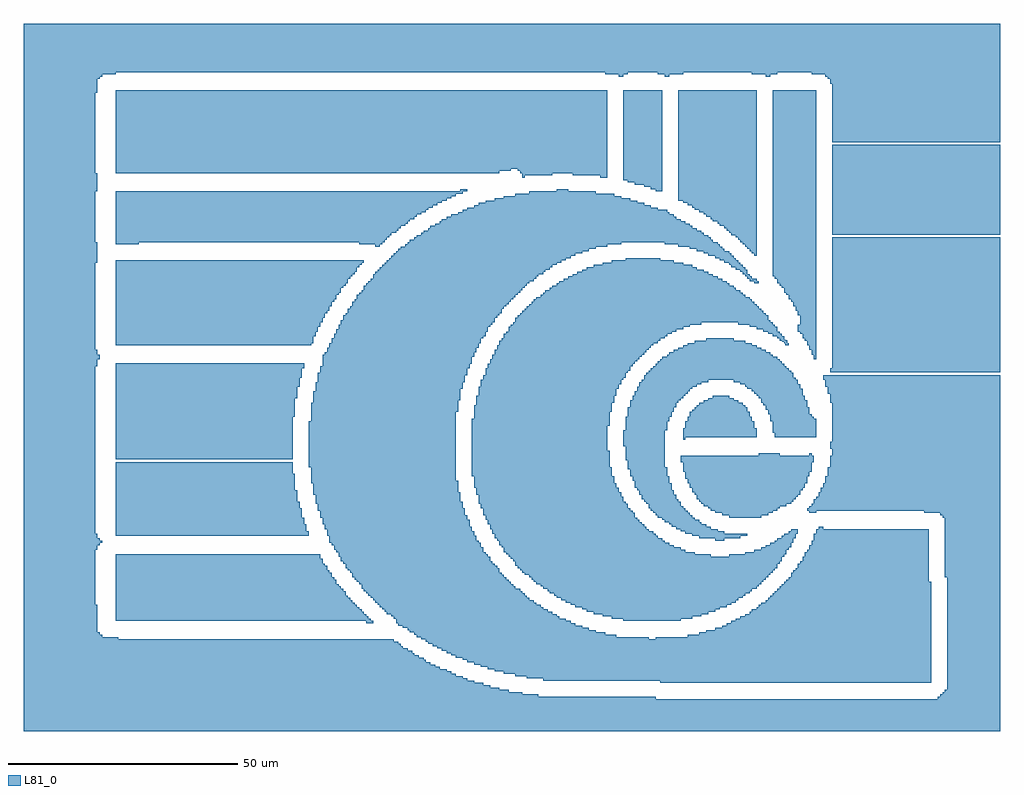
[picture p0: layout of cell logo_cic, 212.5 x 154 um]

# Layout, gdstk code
import gdstk
lib = gdstk.Library(unit=1e-6, precision=5e-09)
def R(c, l, rs):  # rectangles x0, y0, x1, y1
    for r in rs: c.add(gdstk.rectangle(r[:2], r[2:], *l))
def A(c, l, x, y, w, h, nx, ny, dx, dy):  # array of equal rectangles
    R(c, l, [(x+i*dx, y+j*dy, x+i*dx+w, y+j*dy+h) for i in range(nx) for j in range(ny)])
def P(c, l, *ps):  # polygons
    for p in ps: c.add(gdstk.Polygon(p, *l))
L81_0 = (81, 0)

logo_cic = lib.new_cell('logo_cic')
A(logo_cic, L81_0, 20, 121.5, 20, 18, 4, 1, 20, 0)
A(logo_cic, L81_0, 20, 143.5, 20, 10.5, 5, 1, 20, 0)
R(logo_cic, L81_0, [(40,0,60,20), (60,0,80,20), (140,0,160,7), (160,0,180,7), (20,24,40,38.5), (40,24,60,38.5), (20,42.565,40,58.565), (20,59.17,40,80.1), (180,78.105,200,107.495), (200,78.105,212.5,107.495), (20,84,40,102.5), (40,84,60,102.5), (165.78,84.06,166.22,84.5), (165.78,84.28,166.22,84.72), (165.78,84.72,166.22,85.16), (165.06,84.78,165.5,85.22), (165.34,84.78,165.78,85.22), (158,98,158.5,98.5), (157.5,98.5,158,99), (157,99,157.5,99.5), (40,106.5,60,117.5), (176,108.1,180,127.655), (180,108.1,200,127.655), (200,108.1,212.5,127.655), (180,128.26,200,154), (200,128.26,212.5,154)])
P(logo_cic, L81_0, [(175.5,78.105),(175.5,79),(176,79),(176,107.495),(180,107.495),(180,78.105)],
  [(40,59.17),(40,80.1),(60,80.1),(60,75),(59.5,75),(59.5,72.5),(59,72.5),(59,68.5),(58.5,68.5),(58.5,59.17)],
  [(176,128.26),(176,141),(175.5,141),(175.5,142),(175,142),(175,142.5),(174.5,142.5),(174.5,143),(171.5,143),(171.5,143.5),(164,143.5),(164,143),(162.5,143),(162.5,142.5),(161.5,142.5),(161.5,143),(160,143),(160,154),(180,154),(180,128.26)],
  [(40,42.565),(40,58.565),(58.5,58.565),(58.5,56),(59,56),(59,52.5),(59.5,52.5),(59.5,50),(60,50),(60,42.565)],
  [(60,77),(60,80.1),(61,80.1),(61,79),(60.5,79),(60.5,77)],
  [(20,106),(20,117.5),(40,117.5),(40,106.5),(25,106.5),(25,106)],
  [(60,42.565),(60,48.5),(60.5,48.5),(60.5,46.5),(61,46.5),(61,45),(61.5,45),(61.5,43.5),(62,43.5),(62,42.565)],
  [(199.5,47),(199.5,47.5),(196,47.5),(196,48),(180,48),(180,77.5),(200,77.5),(200,47)],
  [(200,0),(200,8.5),(200.5,8.5),(200.5,9),(201,9),(201,33.5),(200.5,33.5),(200.5,46.5),(200,46.5),(200,77.5),(212.5,77.5),(212.5,0)],
  [(171,47.5),(171,48),(170.5,48),(170.5,48.5),(171,48.5),(171,49),(171.5,49),(171.5,49.5),(172,49.5),(172,50.5),(172.5,50.5),(172.5,51),(173,51),(173,52),(173.5,52),(173.5,53),(174,53),(174,54),(174.5,54),(174.5,55.5),(175,55.5),(175,57.5),(175.5,57.5),(175.5,60),(176,60),(176,61.5),(175.5,61.5),(175.5,63),(176,63),(176,71.5),(175.5,71.5),(175.5,73.5),(175,73.5),(175,75),(174.5,75),(174.5,76.5),(174,76.5),(174,77.5),(180,77.5),(180,48),(172.5,48),(172.5,47.5)],
  [(0,0),(0,154),(20,154),(20,143),(17,143),(17,142.5),(16.5,142.5),(16.5,142),(16,142),(16,139),(15.5,139),(15.5,121.5),(16,121.5),(16,117.5),(15.5,117.5),(15.5,106.5),(16,106.5),(16,102),(15.5,102),(15.5,83),(16,83),(16,82),(16.5,82),(16.5,81),(16,81),(16,79.5),(15.5,79.5),(15.5,43),(16,43),(16,42),(16.5,42),(16.5,41.5),(17,41.5),(17,41),(16.5,41),(16.5,40.5),(16,40.5),(16,39.5),(15.5,39.5),(15.5,27.5),(16,27.5),(16,21.5),(16.5,21.5),(16.5,21),(17,21),(17,20.5),(20,20.5),(20,0)],
  [(20,0),(20,20.5),(20.5,20.5),(20.5,20),(40,20),(40,0)],
  [(74.5,23.5),(74.5,24),(60,24),(60,38.5),(64.5,38.5),(64.5,37.5),(65,37.5),(65,36.5),(65.5,36.5),(65.5,36),(66,36),(66,35),(66.5,35),(66.5,34.5),(67,34.5),(67,33.5),(67.5,33.5),(67.5,33),(68,33),(68,32),(68.5,32),(68.5,31.5),(69,31.5),(69,31),(69.5,31),(69.5,30.5),(70,30.5),(70,29.5),(70.5,29.5),(70.5,29),(71,29),(71,28.5),(71.5,28.5),(71.5,28),(72,28),(72,27.5),(72.5,27.5),(72.5,27),(73,27),(73,26.5),(73.5,26.5),(73.5,26),(74,26),(74,25.5),(74.5,25.5),(74.5,25),(75,25),(75,24.5),(75.5,24.5),(75.5,24),(76,24),(76,23.5)],
  [(60,84),(60,102.5),(74,102.5),(74,102),(73.5,102),(73.5,101.5),(73,101.5),(73,101),(72.5,101),(72.5,100),(72,100),(72,99.5),(71.5,99.5),(71.5,99),(71,99),(71,98.5),(70.5,98.5),(70.5,97.5),(70,97.5),(70,97),(69.5,97),(69.5,96.5),(69,96.5),(69,95.5),(68.5,95.5),(68.5,95),(68,95),(68,94),(67.5,94),(67.5,93.5),(67,93.5),(67,92.5),(66.5,92.5),(66.5,91.5),(66,91.5),(66,91),(65.5,91),(65.5,90),(65,90),(65,89),(64.5,89),(64.5,88),(64,88),(64,87),(63.5,87),(63.5,86),(63,86),(63,84.5),(62.5,84.5),(62.5,84)],
  [(79,25.5),(79,26),(78.5,26),(78.5,26.5),(78,26.5),(78,27),(77.5,27),(77.5,27.5),(77,27.5),(77,28),(76.5,28),(76.5,28.5),(76,28.5),(76,29),(75.5,29),(75.5,29.5),(75,29.5),(75,30),(74.5,30),(74.5,30.5),(74,30.5),(74,31),(73.5,31),(73.5,32),(73,32),(73,32.5),(72.5,32.5),(72.5,33),(72,33),(72,33.5),(71.5,33.5),(71.5,34.5),(71,34.5),(71,35),(70.5,35),(70.5,35.5),(70,35.5),(70,36.5),(69.5,36.5),(69.5,37),(69,37),(69,38),(68.5,38),(68.5,39),(68,39),(68,39.5),(67.5,39.5),(67.5,40.5),(67,40.5),(67,41),(66.5,41),(66.5,42.5),(66,42.5),(66,44),(65.5,44),(65.5,45),(65,45),(65,46.5),(64.5,46.5),(64.5,48),(64,48),(64,49.5),(63.5,49.5),(63.5,51.5),(63,51.5),(63,54),(62.5,54),(62.5,57.5),(62,57.5),(62,67.5),(62.5,67.5),(62.5,71.5),(63,71.5),(63,74),(63.5,74),(63.5,76),(64,76),(64,78),(64.5,78),(64.5,79.5),(65,79.5),(65,82),(65.5,82),(65.5,82.5),(66,82.5),(66,83.5),(66.5,83.5),(66.5,84.5),(67,84.5),(67,85.5),(67.5,85.5),(67.5,86.5),(68,86.5),(68,87.5),(68.5,87.5),(68.5,88.5),(69,88.5),(69,89.5),(69.5,89.5),(69.5,90.5),(70,90.5),(70,91),(70.5,91),(70.5,92),(71,92),(71,92.5),(71.5,92.5),(71.5,93.5),(72,93.5),(72,94),(72.5,94),(72.5,95),(73,95),(73,95.5),(73.5,95.5),(73.5,96),(74,96),(74,97),(74.5,97),(74.5,97.5),(75,97.5),(75,98),(75.5,98),(75.5,98.5),(76,98.5),(76,99.5),(76.5,99.5),(76.5,100),(77,100),(77,100.5),(77.5,100.5),(77.5,101),(78,101),(78,101.5),(78.5,101.5),(78.5,102),(79,102),(79,102.5),(79.5,102.5),(79.5,103),(80,103),(80,25.5)],
  [(76.5,105.5),(76.5,106),(73,106),(73,106.5),(60,106.5),(60,117.5),(80,117.5),(80,108),(79.5,108),(79.5,107.5),(79,107.5),(79,107),(78.5,107),(78.5,106.5),(78,106.5),(78,106),(77.5,106),(77.5,105.5)],
  [(80,0),(80,20),(80.5,20),(80.5,19.5),(81.5,19.5),(81.5,19),(82,19),(82,18.5),(82.5,18.5),(82.5,18),(83.5,18),(83.5,17.5),(84.5,17.5),(84.5,17),(85,17),(85,16.5),(86,16.5),(86,16),(87,16),(87,15.5),(87.5,15.5),(87.5,15),(88.5,15),(88.5,14.5),(89.5,14.5),(89.5,14),(90.5,14),(90.5,13.5),(92,13.5),(92,13),(93,13),(93,12.5),(94,12.5),(94,12),(95.5,12),(95.5,11.5),(96.5,11.5),(96.5,11),(98,11),(98,10.5),(100,10.5),(100,0)],
  [(99.5,48.5),(99.5,49.5),(99,49.5),(99,51.5),(98.5,51.5),(98.5,53),(98,53),(98,55.5),(97.5,55.5),(97.5,68),(98,68),(98,71),(98.5,71),(98.5,73),(99,73),(99,75),(99.5,75),(99.5,76.5),(100,76.5),(100,48.5)],
  [(99.5,14),(99.5,14.5),(98,14.5),(98,15),(96.5,15),(96.5,15.5),(95.5,15.5),(95.5,16),(94,16),(94,16.5),(93,16.5),(93,17),(92,17),(92,17.5),(91,17.5),(91,18),(90,18),(90,18.5),(89,18.5),(89,19),(88,19),(88,19.5),(87.5,19.5),(87.5,20),(86.5,20),(86.5,20.5),(85.5,20.5),(85.5,21),(85,21),(85,21.5),(84,21.5),(84,22),(83.5,22),(83.5,22.5),(82.5,22.5),(82.5,23),(81.5,23),(81.5,23.5),(81,23.5),(81,24.5),(80.5,24.5),(80.5,25),(80,25),(80,103.5),(80.5,103.5),(80.5,104),(81,104),(81,104.5),(81.5,104.5),(81.5,105),(82,105),(82,105.5),(83,105.5),(83,106),(83.5,106),(83.5,106.5),(84,106.5),(84,107),(85,107),(85,107.5),(85.5,107.5),(85.5,108),(86.5,108),(86.5,108.5),(87,108.5),(87,109),(88,109),(88,109.5),(88.5,109.5),(88.5,110),(89.5,110),(89.5,110.5),(90.5,110.5),(90.5,111),(91,111),(91,111.5),(92,111.5),(92,112),(93,112),(93,112.5),(94.5,112.5),(94.5,113),(95.5,113),(95.5,113.5),(96.5,113.5),(96.5,114),(98,114),(98,114.5),(99,114.5),(99,115),(100,115),(100,85.5),(99.5,85.5),(99.5,84.5),(99,84.5),(99,83.5),(98.5,83.5),(98.5,82.5),(98,82.5),(98,81.5),(97.5,81.5),(97.5,80),(97,80),(97,79),(96.5,79),(96.5,77.5),(96,77.5),(96,76),(95.5,76),(95.5,74.5),(95,74.5),(95,72),(94.5,72),(94.5,69.5),(94,69.5),(94,54.5),(94.5,54.5),(94.5,52),(95,52),(95,50),(95.5,50),(95.5,48.5),(96,48.5),(96,47),(96.5,47),(96.5,46),(97,46),(97,44.5),(97.5,44.5),(97.5,43.5),(98,43.5),(98,42.5),(98.5,42.5),(98.5,41.5),(99,41.5),(99,41),(99.5,41),(99.5,40),(100,40),(100,14)],
  [(80,108.5),(80,117.5),(95,117.5),(95,118),(96.5,118),(96.5,117.5),(95.5,117.5),(95.5,117),(94,117),(94,116.5),(93,116.5),(93,116),(92,116),(92,115.5),(91,115.5),(91,115),(90,115),(90,114.5),(89,114.5),(89,114),(88,114),(88,113.5),(87.5,113.5),(87.5,113),(86.5,113),(86.5,112.5),(85.5,112.5),(85.5,112),(85,112),(85,111.5),(84,111.5),(84,111),(83.5,111),(83.5,110.5),(83,110.5),(83,110),(82,110),(82,109.5),(81.5,109.5),(81.5,109),(81,109),(81,108.5)],
  [(100,0),(100,10),(101.5,10),(101.5,9.5),(103.5,9.5),(103.5,9),(105.5,9),(105.5,8.5),(108.5,8.5),(108.5,8),(112,8),(112,7.5),(120,7.5),(120,0)],
  [(113,11),(113,11.5),(109.5,11.5),(109.5,12),(107,12),(107,12.5),(104.5,12.5),(104.5,13),(102.5,13),(102.5,13.5),(101,13.5),(101,14),(100,14),(100,39),(100.5,39),(100.5,38.5),(101,38.5),(101,38),(101.5,38),(101.5,37),(102,37),(102,36.5),(102.5,36.5),(102.5,36),(103,36),(103,35.5),(103.5,35.5),(103.5,34.5),(104,34.5),(104,34),(104.5,34),(104.5,33.5),(105,33.5),(105,33),(105.5,33),(105.5,32.5),(106,32.5),(106,32),(106.5,32),(106.5,31.5),(107,31.5),(107,31),(108,31),(108,30.5),(108.5,30.5),(108.5,30),(109,30),(109,29.5),(109.5,29.5),(109.5,29),(110,29),(110,28.5),(111,28.5),(111,28),(111.5,28),(111.5,27.5),(112.5,27.5),(112.5,27),(113,27),(113,26.5),(114,26.5),(114,26),(115,26),(115,25.5),(116,25.5),(116,25),(116.5,25),(116.5,24.5),(118,24.5),(118,24),(119,24),(119,23.5),(120,23.5),(120,11)],
  [(119,27.5),(119,28),(118,28),(118,28.5),(117,28.5),(117,29),(116,29),(116,29.5),(115.5,29.5),(115.5,30),(114.5,30),(114.5,30.5),(114,30.5),(114,31),(113,31),(113,31.5),(112.5,31.5),(112.5,32),(111.5,32),(111.5,32.5),(111,32.5),(111,33),(110.5,33),(110.5,33.5),(110,33.5),(110,34),(109,34),(109,34.5),(108.5,34.5),(108.5,35),(108,35),(108,35.5),(107.5,35.5),(107.5,36),(107,36),(107,37),(106.5,37),(106.5,37.5),(106,37.5),(106,38),(105.5,38),(105.5,38.5),(105,38.5),(105,39),(104.5,39),(104.5,40),(104,40),(104,40.5),(103.5,40.5),(103.5,41.5),(103,41.5),(103,42),(102.5,42),(102.5,43),(102,43),(102,44),(101.5,44),(101.5,45),(101,45),(101,46),(100.5,46),(100.5,47),(100,47),(100,77.5),(100.5,77.5),(100.5,79),(101,79),(101,80),(101.5,80),(101.5,81),(102,81),(102,82),(102.5,82),(102.5,83),(103,83),(103,84),(103.5,84),(103.5,85),(104,85),(104,85.5),(104.5,85.5),(104.5,86.5),(105,86.5),(105,87),(105.5,87),(105.5,88),(106,88),(106,88.5),(106.5,88.5),(106.5,89),(107,89),(107,90),(107.5,90),(107.5,90.5),(108,90.5),(108,91),(108.5,91),(108.5,91.5),(109,91.5),(109,92),(109.5,92),(109.5,92.5),(110,92.5),(110,93),(110.5,93),(110.5,93.5),(111,93.5),(111,94),(111.5,94),(111.5,94.5),(112.5,94.5),(112.5,95),(113,95),(113,95.5),(113.5,95.5),(113.5,96),(114.5,96),(114.5,96.5),(115,96.5),(115,97),(116,97),(116,97.5),(116.5,97.5),(116.5,98),(117.5,98),(117.5,98.5),(118.5,98.5),(118.5,99),(119.5,99),(119.5,99.5),(120,99.5),(120,27.5)],
  [(100,86),(100,115),(100.5,115),(100.5,115.5),(102.5,115.5),(102.5,116),(104.5,116),(104.5,116.5),(107,116.5),(107,117),(110,117),(110,117.5),(116,117.5),(116,118),(118.5,118),(118.5,117.5),(120,117.5),(120,103.5),(119,103.5),(119,103),(118,103),(118,102.5),(117,102.5),(117,102),(116,102),(116,101.5),(115,101.5),(115,101),(114.5,101),(114.5,100.5),(113.5,100.5),(113.5,100),(113,100),(113,99.5),(112,99.5),(112,99),(111.5,99),(111.5,98.5),(111,98.5),(111,98),(110,98),(110,97.5),(109.5,97.5),(109.5,97),(109,97),(109,96.5),(108.5,96.5),(108.5,96),(108,96),(108,95.5),(107.5,95.5),(107.5,95),(107,95),(107,94.5),(106.5,94.5),(106.5,94),(106,94),(106,93.5),(105.5,93.5),(105.5,93),(105,93),(105,92.5),(104.5,92.5),(104.5,92),(104,92),(104,91),(103.5,91),(103.5,90.5),(103,90.5),(103,90),(102.5,90),(102.5,89),(102,89),(102,88.5),(101.5,88.5),(101.5,88),(101,88),(101,87),(100.5,87),(100.5,86)],
  [(108.5,120.5),(108.5,121.5),(108,121.5),(108,122),(107.5,122),(107.5,122.5),(106,122.5),(106,122),(103.5,122),(103.5,121.5),(100,121.5),(100,139.5),(120,139.5),(120,121),(119.5,121),(119.5,121.5),(115,121.5),(115,121),(109,121),(109,120.5)],
  [(120,0),(120,7.5),(137.5,7.5),(137.5,7),(140,7),(140,0)],
  [(138.5,10.5),(138.5,11),(120,11),(120,23),(121.5,23),(121.5,22.5),(123,22.5),(123,22),(124.5,22),(124.5,21.5),(126.5,21.5),(126.5,21),(129,21),(129,20.5),(136,20.5),(136,20),(137.5,20),(137.5,20.5),(140,20.5),(140,10.5)],
  [(139.5,45.5),(139.5,46),(139,46),(139,46.5),(138,46.5),(138,47),(137.5,47),(137.5,47.5),(137,47.5),(137,48),(136.5,48),(136.5,48.5),(136,48.5),(136,49.5),(135.5,49.5),(135.5,50),(135,50),(135,50.5),(134.5,50.5),(134.5,51.5),(134,51.5),(134,52.5),(133.5,52.5),(133.5,53),(133,53),(133,54.5),(132.5,54.5),(132.5,55.5),(132,55.5),(132,57),(131.5,57),(131.5,59),(131,59),(131,62),(130.5,62),(130.5,65.5),(131,65.5),(131,68.5),(131.5,68.5),(131.5,70.5),(132,70.5),(132,72),(132.5,72),(132.5,73),(133,73),(133,74),(133.5,74),(133.5,75),(134,75),(134,76),(134.5,76),(134.5,76.5),(135,76.5),(135,77.5),(135.5,77.5),(135.5,78),(136,78),(136,78.5),(136.5,78.5),(136.5,79),(137,79),(137,79.5),(137.5,79.5),(137.5,80),(138,80),(138,80.5),(138.5,80.5),(138.5,81),(139,81),(139,81.5),(140,81.5),(140,65.5),(139.5,65.5),(139.5,57.5),(140,57.5),(140,45.5)],
  [(130.5,24),(130.5,24.5),(128,24.5),(128,25),(126,25),(126,25.5),(124,25.5),(124,26),(122.5,26),(122.5,26.5),(121.5,26.5),(121.5,27),(120,27),(120,99.5),(120.5,99.5),(120.5,100),(121.5,100),(121.5,100.5),(122.5,100.5),(122.5,101),(124,101),(124,101.5),(126,101.5),(126,102),(128,102),(128,102.5),(131,102.5),(131,103),(138.5,103),(138.5,102.5),(140,102.5),(140,86),(139.5,86),(139.5,85.5),(138.5,85.5),(138.5,85),(138,85),(138,84.5),(137,84.5),(137,84),(136.5,84),(136.5,83.5),(136,83.5),(136,83),(135.5,83),(135.5,82.5),(135,82.5),(135,82),(134.5,82),(134.5,81.5),(134,81.5),(134,81),(133.5,81),(133.5,80.5),(133,80.5),(133,80),(132.5,80),(132.5,79.5),(132,79.5),(132,78.5),(131.5,78.5),(131.5,78),(131,78),(131,77),(130.5,77),(130.5,76.5),(130,76.5),(130,75.5),(129.5,75.5),(129.5,74.5),(129,74.5),(129,73),(128.5,73),(128.5,71.5),(128,71.5),(128,69.5),(127.5,69.5),(127.5,66.5),(127,66.5),(127,61),(127.5,61),(127.5,57.5),(128,57.5),(128,55.5),(128.5,55.5),(128.5,54),(129,54),(129,53),(129.5,53),(129.5,52),(130,52),(130,51),(130.5,51),(130.5,50),(131,50),(131,49.5),(131.5,49.5),(131.5,48.5),(132,48.5),(132,48),(132.5,48),(132.5,47.5),(133,47.5),(133,46.5),(133.5,46.5),(133.5,46),(134,46),(134,45.5),(134.5,45.5),(134.5,45),(135,45),(135,44.5),(135.5,44.5),(135.5,44),(136,44),(136,43.5),(137,43.5),(137,43),(137.5,43),(137.5,42.5),(138,42.5),(138,42),(139,42),(139,41.5),(139.5,41.5),(139.5,41),(140,41),(140,24)],
  [(120,104),(120,117.5),(124.5,117.5),(124.5,117),(128.5,117),(128.5,116.5),(130,116.5),(130,116),(132,116),(132,115.5),(133.5,115.5),(133.5,115),(135,115),(135,114.5),(136.5,114.5),(136.5,114),(138,114),(138,113.5),(140,113.5),(140,106),(139.5,106),(139.5,106.5),(130,106.5),(130,106),(127,106),(127,105.5),(124.5,105.5),(124.5,105),(123,105),(123,104.5),(121.5,104.5),(121.5,104)],
  [(125.5,120.5),(125.5,121),(120,121),(120,139.5),(127,139.5),(127,120.5)],
  [(137.5,117.5),(137.5,118),(136.5,118),(136.5,118.5),(135,118.5),(135,119),(133,119),(133,119.5),(131.5,119.5),(131.5,120),(130.5,120),(130.5,139.5),(139,139.5),(139,117.5)],
  [(129.5,142.5),(129.5,143),(126.5,143),(126.5,143.5),(120,143.5),(120,154),(140,154),(140,142.5),(139.5,142.5),(139.5,143),(138,143),(138,143.5),(131.5,143.5),(131.5,143),(130.5,143),(130.5,142.5)],
  [(140,10.5),(140,20.5),(144.5,20.5),(144.5,21),(147,21),(147,21.5),(148.5,21.5),(148.5,22),(150.5,22),(150.5,22.5),(152,22.5),(152,23),(153,23),(153,23.5),(154,23.5),(154,24),(155,24),(155,24.5),(156,24.5),(156,25),(157,25),(157,25.5),(158,25.5),(158,26),(158.5,26),(158.5,26.5),(159.5,26.5),(159.5,27),(160,27),(160,10.5)],
  [(140,24),(140,41),(140.5,41),(140.5,40.5),(141.5,40.5),(141.5,40),(143,40),(143,39.5),(144,39.5),(144,39),(146,39),(146,38.5),(149.5,38.5),(149.5,38),(153.5,38),(153.5,38.5),(157,38.5),(157,39),(159,39),(159,39.5),(160,39.5),(160,31.5),(159.5,31.5),(159.5,31),(158.5,31),(158.5,30.5),(158,30.5),(158,30),(157,30),(157,29.5),(156.5,29.5),(156.5,29),(155.5,29),(155.5,28.5),(155,28.5),(155,28),(154,28),(154,27.5),(153,27.5),(153,27),(151.5,27),(151.5,26.5),(150.5,26.5),(150.5,26),(149,26),(149,25.5),(147.5,25.5),(147.5,25),(145.5,25),(145.5,24.5),(143,24.5),(143,24)],
  [(150.5,41.5),(150.5,42),(147,42),(147,42.5),(145.5,42.5),(145.5,43),(144,43),(144,43.5),(143,43.5),(143,44),(142,44),(142,44.5),(141,44.5),(141,45),(140.5,45),(140.5,45.5),(140,45.5),(140,55.5),(140.5,55.5),(140.5,54),(141,54),(141,52.5),(141.5,52.5),(141.5,51.5),(142,51.5),(142,50.5),(142.5,50.5),(142.5,50),(143,50),(143,49),(143.5,49),(143.5,48.5),(144,48.5),(144,48),(144.5,48),(144.5,47.5),(145,47.5),(145,47),(145.5,47),(145.5,46.5),(146,46.5),(146,46),(147,46),(147,45.5),(147.5,45.5),(147.5,45),(148.5,45),(148.5,44.5),(149.5,44.5),(149.5,44),(151,44),(151,43.5),(152.5,43.5),(152.5,43),(157.5,43),(157.5,42.5),(156,42.5),(156,42),(152.5,42),(152.5,41.5)],
  [(153.5,46.5),(153.5,47),(152,47),(152,47.5),(150.5,47.5),(150.5,48),(149.5,48),(149.5,48.5),(149,48.5),(149,49),(148,49),(148,49.5),(147.5,49.5),(147.5,50),(147,50),(147,50.5),(146.5,50.5),(146.5,51.5),(146,51.5),(146,52),(145.5,52),(145.5,53),(145,53),(145,54),(144.5,54),(144.5,55),(144,55),(144,56.5),(143.5,56.5),(143.5,58.5),(143,58.5),(143,60),(160,60),(160,46.5)],
  [(143.5,63.5),(143.5,66),(144,66),(144,67.5),(144.5,67.5),(144.5,68.5),(145,68.5),(145,69.5),(145.5,69.5),(145.5,70),(146,70),(146,70.5),(146.5,70.5),(146.5,71),(147,71),(147,71.5),(148,71.5),(148,72),(149,72),(149,72.5),(150,72.5),(150,73),(153.5,73),(153.5,72.5),(154.5,72.5),(154.5,72),(155.5,72),(155.5,71.5),(156.5,71.5),(156.5,71),(157,71),(157,70.5),(157.5,70.5),(157.5,69.5),(158,69.5),(158,68.5),(158.5,68.5),(158.5,67.5),(159,67.5),(159,66),(159.5,66),(159.5,64),(144,64),(144,63.5)],
  [(140,67.5),(140,82),(140.5,82),(140.5,82.5),(141.5,82.5),(141.5,83),(142.5,83),(142.5,83.5),(143.5,83.5),(143.5,84),(144.5,84),(144.5,84.5),(146,84.5),(146,85),(148.5,85),(148.5,85.5),(154.5,85.5),(154.5,85),(157,85),(157,84.5),(158.5,84.5),(158.5,84),(159.5,84),(159.5,83.5),(160,83.5),(160,73),(159.5,73),(159.5,73.5),(159,73.5),(159,74),(158.5,74),(158.5,74.5),(157.5,74.5),(157.5,75),(157,75),(157,75.5),(156,75.5),(156,76),(154.5,76),(154.5,76.5),(149,76.5),(149,76),(147.5,76),(147.5,75.5),(146.5,75.5),(146.5,75),(145.5,75),(145.5,74.5),(145,74.5),(145,74),(144.5,74),(144.5,73.5),(144,73.5),(144,73),(143.5,73),(143.5,72.5),(143,72.5),(143,72),(142.5,72),(142.5,71.5),(142,71.5),(142,70.5),(141.5,70.5),(141.5,69.5),(141,69.5),(141,68.5),(140.5,68.5),(140.5,67.5)],
  [(140,86.5),(140,102.5),(141.5,102.5),(141.5,102),(143.5,102),(143.5,101.5),(145.5,101.5),(145.5,101),(146.5,101),(146.5,100.5),(148,100.5),(148,100),(149,100),(149,99.5),(150,99.5),(150,99),(151,99),(151,98.5),(152,98.5),(152,98),(153,98),(153,97.5),(153.5,97.5),(153.5,97),(154.5,97),(154.5,96.5),(155,96.5),(155,96),(156,96),(156,95.5),(156.5,95.5),(156.5,95),(157,95),(157,94.5),(158,94.5),(158,94),(158.5,94),(158.5,93.5),(159,93.5),(159,93),(159.5,93),(159.5,92.5),(160,92.5),(160,87.5),(159.5,87.5),(159.5,88),(158,88),(158,88.5),(155.5,88.5),(155.5,89),(147.5,89),(147.5,88.5),(145,88.5),(145,88),(143.5,88),(143.5,87.5),(142,87.5),(142,87),(141,87),(141,86.5)],
  [(159,97.5),(159,98),(158.5,98),(158.5,98.5),(158,98.5),(158,99),(157.5,99),(157.5,99.5),(156.5,99.5),(156.5,100),(156,100),(156,100.5),(155,100.5),(155,101),(154,101),(154,101.5),(153.5,101.5),(153.5,102),(152.5,102),(152.5,102.5),(151.5,102.5),(151.5,103),(150.5,103),(150.5,103.5),(149,103.5),(149,104),(148,104),(148,104.5),(146.5,104.5),(146.5,105),(145,105),(145,105.5),(142.5,105.5),(142.5,106),(140,106),(140,113),(140.5,113),(140.5,112.5),(141.5,112.5),(141.5,112),(142,112),(142,111.5),(143,111.5),(143,111),(144,111),(144,110.5),(145,110.5),(145,110),(145.5,110),(145.5,109.5),(146.5,109.5),(146.5,109),(147.5,109),(147.5,108.5),(148,108.5),(148,108),(149,108),(149,107.5),(149.5,107.5),(149.5,107),(150,107),(150,106.5),(151,106.5),(151,106),(151.5,106),(151.5,105.5),(152,105.5),(152,105),(152.5,105),(152.5,104.5),(153.5,104.5),(153.5,104),(154,104),(154,103.5),(154.5,103.5),(154.5,103),(155,103),(155,102.5),(155.5,102.5),(155.5,102),(156,102),(156,101.5),(156.5,101.5),(156.5,101),(157,101),(157,100.5),(157.5,100.5),(157.5,99.5),(158,99.5),(158,99),(158.5,99),(158.5,98.5),(159.5,98.5),(159.5,98),(160,98),(160,97.5)],
  [(159,103.5),(159,104),(158.5,104),(158.5,104.5),(158,104.5),(158,105),(157.5,105),(157.5,105.5),(157,105.5),(157,106),(156.5,106),(156.5,106.5),(156,106.5),(156,107),(155.5,107),(155.5,107.5),(155,107.5),(155,108),(154,108),(154,108.5),(153.5,108.5),(153.5,109),(153,109),(153,109.5),(152.5,109.5),(152.5,110),(151.5,110),(151.5,110.5),(151,110.5),(151,111),(150,111),(150,111.5),(149.5,111.5),(149.5,112),(148.5,112),(148.5,112.5),(148,112.5),(148,113),(147,113),(147,113.5),(146,113.5),(146,114),(145.5,114),(145.5,114.5),(144.5,114.5),(144.5,115),(143.5,115),(143.5,115.5),(142.5,115.5),(142.5,139.5),(159.5,139.5),(159.5,103.5)],
  [(140,142.5),(140,154),(160,154),(160,143),(158.5,143),(158.5,143.5),(143.5,143.5),(143.5,143),(140.5,143),(140.5,142.5)],
  [(160,32),(160,39.5),(160.5,39.5),(160.5,40),(161.5,40),(161.5,40.5),(162.5,40.5),(162.5,41),(163.5,41),(163.5,41.5),(164,41.5),(164,42),(165,42),(165,42.5),(165.5,42.5),(165.5,43),(166.5,43),(166.5,43.5),(167,43.5),(167,44),(168.5,44),(168.5,43),(168,43),(168,42),(167.5,42),(167.5,41),(167,41),(167,40),(166.5,40),(166.5,39.5),(166,39.5),(166,38.5),(165.5,38.5),(165.5,38),(165,38),(165,37),(164.5,37),(164.5,36.5),(164,36.5),(164,35.5),(163.5,35.5),(163.5,35),(163,35),(163,34.5),(162.5,34.5),(162.5,34),(162,34),(162,33.5),(161.5,33.5),(161.5,33),(161,33),(161,32.5),(160.5,32.5),(160.5,32)],
  [(160,10.5),(160,27.5),(160.5,27.5),(160.5,28),(161.5,28),(161.5,28.5),(162,28.5),(162,29),(162.5,29),(162.5,29.5),(163,29.5),(163,30),(163.5,30),(163.5,30.5),(164,30.5),(164,31),(164.5,31),(164.5,31.5),(165,31.5),(165,32),(165.5,32),(165.5,32.5),(166,32.5),(166,33),(166.5,33),(166.5,33.5),(167,33.5),(167,34.5),(167.5,34.5),(167.5,35),(168,35),(168,35.5),(168.5,35.5),(168.5,36.5),(169,36.5),(169,37),(169.5,37),(169.5,38),(170,38),(170,39),(170.5,39),(170.5,39.5),(171,39.5),(171,40.5),(171.5,40.5),(171.5,41.5),(172,41.5),(172,43),(172.5,43),(172.5,44),(173,44),(173,44.5),(174,44.5),(174,44),(180,44),(180,10.5)],
  [(160,46.5),(160,60.5),(164.5,60.5),(164.5,60),(171,60),(171,60.5),(171.5,60.5),(171.5,60),(172,60),(172,58.5),(171.5,58.5),(171.5,56.5),(171,56.5),(171,55.5),(170.5,55.5),(170.5,54),(170,54),(170,53),(169.5,53),(169.5,52.5),(169,52.5),(169,51.5),(168.5,51.5),(168.5,51),(168,51),(168,50.5),(167.5,50.5),(167.5,50),(167,50),(167,49.5),(166,49.5),(166,49),(164.5,49),(164.5,48.5),(164,48.5),(164,48),(163,48),(163,47.5),(162,47.5),(162,47),(160.5,47),(160.5,46.5)],
  [(163.5,64),(163.5,65),(163,65),(163,67.5),(162.5,67.5),(162.5,69),(162,69),(162,70),(161.5,70),(161.5,71),(161,71),(161,71.5),(160.5,71.5),(160.5,72.5),(160,72.5),(160,83.5),(160.5,83.5),(160.5,83),(161.5,83),(161.5,82.5),(162.5,82.5),(162.5,82),(163,82),(163,81.5),(164,81.5),(164,81),(164.5,81),(164.5,80.5),(165,80.5),(165,80),(165.5,80),(165.5,79.5),(166,79.5),(166,79),(166.5,79),(166.5,78.5),(167,78.5),(167,78),(167.5,78),(167.5,77),(168,77),(168,76.5),(168.5,76.5),(168.5,75.5),(169,75.5),(169,74.5),(169.5,74.5),(169.5,73),(170,73),(170,72),(170.5,72),(170.5,70.5),(171,70.5),(171,69),(171.5,69),(171.5,68.5),(172,68.5),(172,68),(172.5,68),(172.5,64)],
  [(166,84),(166,84.5),(165.5,84.5),(165.5,85),(164.5,85),(164.5,85.5),(164,85.5),(164,86),(163,86),(163,86.5),(162,86.5),(162,87),(161,87),(161,87.5),(160,87.5),(160,92),(160.5,92),(160.5,91.5),(161,91.5),(161,91),(161.5,91),(161.5,90.5),(162,90.5),(162,89.5),(162.5,89.5),(162.5,89),(163,89),(163,88.5),(163.5,88.5),(163.5,88),(164,88),(164,87),(164.5,87),(164.5,86.5),(165,86.5),(165,86),(165.5,86),(165.5,85),(166,85),(166,84.5),(166.5,84.5),(166.5,84)],
  [(172,81),(172,82),(171.5,82),(171.5,83),(171,83),(171,84),(170.5,84),(170.5,85),(170,85),(170,85.5),(169.5,85.5),(169.5,86.5),(169,86.5),(169,87),(168.5,87),(168.5,88.5),(169,88.5),(169,90.5),(168.5,90.5),(168.5,91.5),(168,91.5),(168,92.5),(167.5,92.5),(167.5,93.5),(167,93.5),(167,94),(166.5,94),(166.5,95),(166,95),(166,95.5),(165.5,95.5),(165.5,96.5),(165,96.5),(165,97),(164.5,97),(164.5,97.5),(164,97.5),(164,98.5),(163.5,98.5),(163.5,99),(163,99),(163,139.5),(172.5,139.5),(172.5,81)],
  [(180,0),(180,7),(199,7),(199,7.5),(199.5,7.5),(199.5,8),(200,8),(200,0)],
  [(180,10.5),(180,44),(197,44),(197,32.5),(197.5,32.5),(197.5,10.5)])

lib.write_gds('logo_cic.gds')
